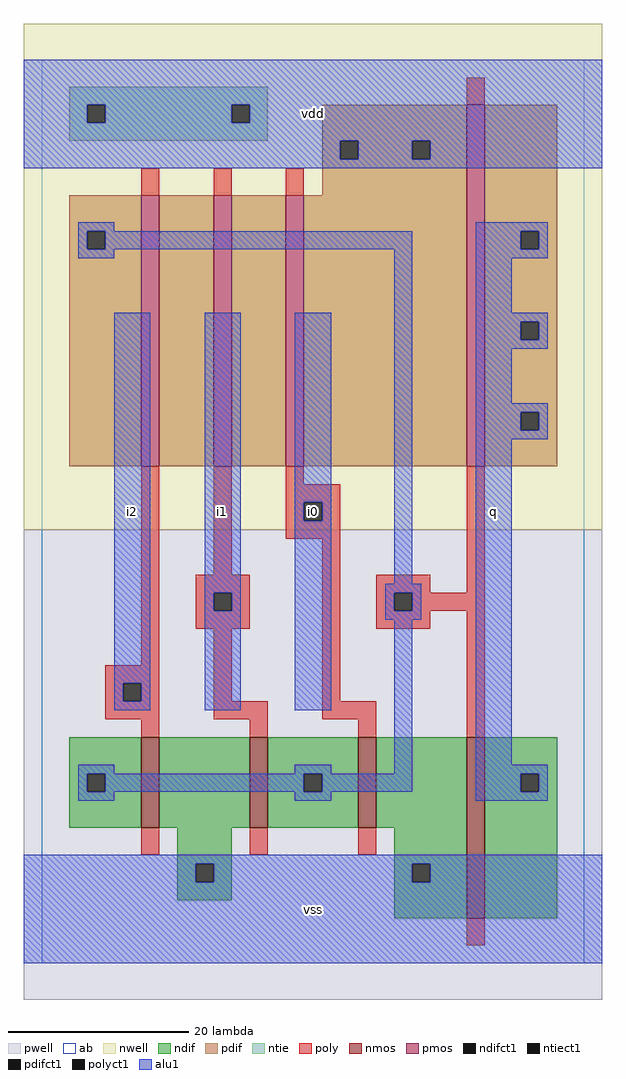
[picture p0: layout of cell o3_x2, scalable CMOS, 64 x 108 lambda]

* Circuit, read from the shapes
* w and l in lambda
.subckt o3_x2 i0 i1 i2 q vdd vss
M1 vss i2 n1 VSUBS nfet w=10 l=2
M2 n1 i1 vss VSUBS nfet w=10 l=2
M3 vss i0 n1 VSUBS nfet w=10 l=2
M4 q n1 vss VSUBS nfet w=20 l=2
M5 n2 i2 n1 vdd pfet w=30 l=2
M6 n3 i1 n2 vdd pfet w=30 l=2
M7 vdd i0 n3 vdd pfet w=30 l=2
M8 q n1 vdd vdd pfet w=40 l=2
.ends

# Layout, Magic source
magic
tech scmos
<< ab >>
rect 0 0 60 100
<< nwell >>
rect -2 48 62 104
<< pwell >>
rect -2 -4 62 48
<< poly >>
rect 47 95 49 98
rect 11 85 13 88
rect 19 85 21 88
rect 27 85 29 88
rect 11 33 13 55
rect 19 43 21 55
rect 27 53 29 55
rect 27 51 33 53
rect 27 49 29 51
rect 31 49 33 51
rect 27 47 33 49
rect 17 41 23 43
rect 17 39 19 41
rect 21 39 23 41
rect 17 37 23 39
rect 7 31 13 33
rect 7 29 9 31
rect 11 29 13 31
rect 7 27 13 29
rect 19 29 21 37
rect 31 29 33 47
rect 37 41 43 43
rect 47 41 49 55
rect 37 39 39 41
rect 41 39 49 41
rect 37 37 43 39
rect 19 27 25 29
rect 31 27 37 29
rect 11 25 13 27
rect 23 25 25 27
rect 35 25 37 27
rect 47 25 49 39
rect 11 12 13 15
rect 23 12 25 15
rect 35 12 37 15
rect 47 2 49 5
<< ndif >>
rect 3 21 11 25
rect 3 19 5 21
rect 7 19 11 21
rect 3 15 11 19
rect 13 15 23 25
rect 25 21 35 25
rect 25 19 29 21
rect 31 19 35 21
rect 25 15 35 19
rect 37 15 47 25
rect 15 11 21 15
rect 15 9 17 11
rect 19 9 21 11
rect 15 7 21 9
rect 39 11 47 15
rect 39 9 41 11
rect 43 9 47 11
rect 39 5 47 9
rect 49 21 57 25
rect 49 19 53 21
rect 55 19 57 21
rect 49 5 57 19
<< pdif >>
rect 31 91 47 95
rect 31 89 33 91
rect 35 89 41 91
rect 43 89 47 91
rect 31 85 47 89
rect 3 81 11 85
rect 3 79 5 81
rect 7 79 11 81
rect 3 55 11 79
rect 13 55 19 85
rect 21 55 27 85
rect 29 55 47 85
rect 49 81 57 95
rect 49 79 53 81
rect 55 79 57 81
rect 49 71 57 79
rect 49 69 53 71
rect 55 69 57 71
rect 49 61 57 69
rect 49 59 53 61
rect 55 59 57 61
rect 49 55 57 59
<< alu1 >>
rect -2 95 62 100
rect -2 93 5 95
rect 7 93 21 95
rect 23 93 62 95
rect -2 91 62 93
rect -2 89 33 91
rect 35 89 41 91
rect 43 89 62 91
rect -2 88 62 89
rect 4 81 8 82
rect 48 81 56 82
rect 4 79 5 81
rect 7 79 41 81
rect 4 78 8 79
rect 8 31 12 72
rect 8 29 9 31
rect 11 29 12 31
rect 8 28 12 29
rect 18 41 22 72
rect 18 39 19 41
rect 21 39 22 41
rect 18 28 22 39
rect 28 51 32 72
rect 28 49 29 51
rect 31 49 32 51
rect 28 28 32 49
rect 39 42 41 79
rect 48 79 53 81
rect 55 79 56 81
rect 48 78 56 79
rect 48 72 52 78
rect 48 71 56 72
rect 48 69 53 71
rect 55 69 56 71
rect 48 68 56 69
rect 48 62 52 68
rect 48 61 56 62
rect 48 59 53 61
rect 55 59 56 61
rect 48 58 56 59
rect 38 41 42 42
rect 38 39 39 41
rect 41 39 42 41
rect 38 38 42 39
rect 4 21 8 22
rect 28 21 32 22
rect 39 21 41 38
rect 4 19 5 21
rect 7 19 29 21
rect 31 19 41 21
rect 48 22 52 58
rect 48 21 56 22
rect 48 19 53 21
rect 55 19 56 21
rect 4 18 8 19
rect 28 18 32 19
rect 48 18 56 19
rect -2 11 62 12
rect -2 9 17 11
rect 19 9 41 11
rect 43 9 62 11
rect -2 0 62 9
<< ntie >>
rect 3 95 25 97
rect 3 93 5 95
rect 7 93 21 95
rect 23 93 25 95
rect 3 91 25 93
<< nmos >>
rect 11 15 13 25
rect 23 15 25 25
rect 35 15 37 25
rect 47 5 49 25
<< pmos >>
rect 11 55 13 85
rect 19 55 21 85
rect 27 55 29 85
rect 47 55 49 95
<< polyct1 >>
rect 29 49 31 51
rect 19 39 21 41
rect 9 29 11 31
rect 39 39 41 41
<< ndifct1 >>
rect 5 19 7 21
rect 29 19 31 21
rect 17 9 19 11
rect 41 9 43 11
rect 53 19 55 21
<< ntiect1 >>
rect 5 93 7 95
rect 21 93 23 95
<< pdifct1 >>
rect 33 89 35 91
rect 41 89 43 91
rect 5 79 7 81
rect 53 79 55 81
rect 53 69 55 71
rect 53 59 55 61
<< labels >>
rlabel alu1 10 50 10 50 6 i2
rlabel alu1 20 50 20 50 6 i1
rlabel alu1 30 6 30 6 6 vss
rlabel polyct1 30 50 30 50 6 i0
rlabel alu1 30 94 30 94 6 vdd
rlabel alu1 50 50 50 50 6 q
<< end >>
